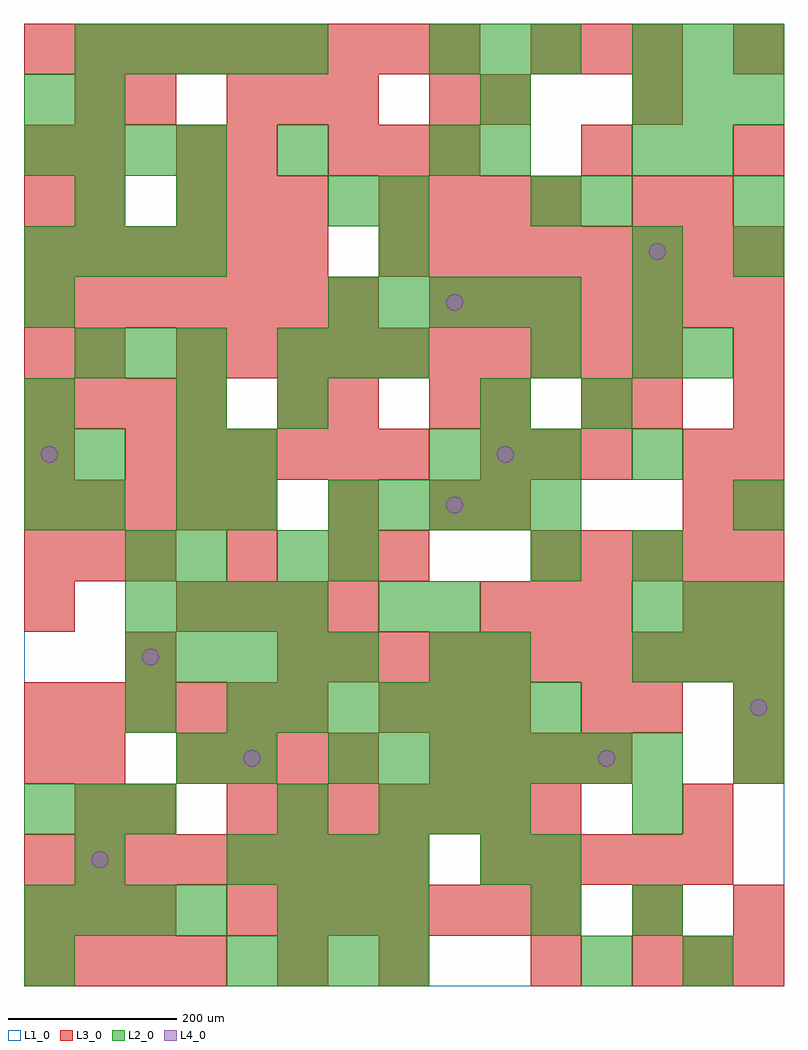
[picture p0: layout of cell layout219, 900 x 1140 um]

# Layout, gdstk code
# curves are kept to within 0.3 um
import gdstk
lib = gdstk.Library(unit=1e-6, precision=1e-09)
def R(c, l, rs):  # rectangles x0, y0, x1, y1
    for r in rs: c.add(gdstk.rectangle(r[:2], r[2:], *l))
def A(c, l, x, y, w, h, nx, ny, dx, dy):  # array of equal rectangles
    R(c, l, [(x+i*dx, y+j*dy, x+i*dx+w, y+j*dy+h) for i in range(nx) for j in range(ny)])
def P(c, l, *ps):  # polygons
    for p in ps: c.add(gdstk.Polygon(p, *l))
L1_0 = (1, 0)
L2_0 = (2, 0)
L3_0 = (3, 0)
L4_0 = (4, 0)

layout219 = lib.new_cell('layout219')
R(layout219, L1_0, [(0,0,900,1140)])
A(layout219, L2_0, 240, 0, 60, 60, 4, 2, 60, 120)
A(layout219, L2_0, 0, 60, 60, 60, 4, 2, 60, 780)
A(layout219, L2_0, 300, 60, 60, 60, 3, 2, 60, 660)
A(layout219, L2_0, 0, 180, 60, 60, 3, 1, 60, 0)
A(layout219, L2_0, 420, 180, 60, 60, 3, 1, 60, 0)
A(layout219, L2_0, 360, 240, 60, 60, 7, 1, 60, 0)
A(layout219, L2_0, 240, 300, 60, 60, 7, 1, 60, 0)
A(layout219, L2_0, 120, 360, 60, 60, 5, 1, 60, 0)
A(layout219, L2_0, 540, 360, 60, 60, 1, 3, 0, 300)
A(layout219, L2_0, 720, 360, 60, 60, 3, 2, 60, 60)
A(layout219, L2_0, 120, 420, 60, 60, 4, 1, 60, 0)
A(layout219, L2_0, 180, 480, 60, 60, 1, 4, 0, 60)
A(layout219, L2_0, 720, 480, 60, 60, 1, 3, 0, 120)
A(layout219, L2_0, 0, 540, 60, 60, 1, 3, 0, 60)
A(layout219, L2_0, 360, 540, 60, 60, 5, 2, 60, 240)
A(layout219, L2_0, 480, 600, 60, 60, 3, 2, 60, 480)
A(layout219, L2_0, 60, 720, 60, 60, 3, 1, 60, 0)
A(layout219, L2_0, 0, 960, 60, 60, 4, 1, 60, 0)
A(layout219, L2_0, 720, 1020, 60, 60, 3, 2, 60, 60)
A(layout219, L2_0, 60, 1080, 60, 60, 5, 1, 60, 0)
R(layout219, L2_0, [(0,0,60,60), (660,0,720,60), (780,0,840,60), (600,60,660,120), (720,60,780,120), (60,120,120,180), (540,120,600,180), (600,120,660,180), (300,180,360,240), (720,180,780,240), (180,240,240,300), (240,240,300,300), (840,240,900,300), (120,300,180,360), (840,300,900,360), (480,360,540,420), (420,420,480,480), (480,420,540,480), (120,480,180,540), (300,480,360,540), (360,480,420,540), (600,480,660,540), (60,540,120,600), (240,540,300,600), (840,540,900,600), (60,600,120,660), (240,600,300,660), (300,660,360,720), (660,660,720,720), (600,720,660,780), (780,720,840,780), (0,780,60,840), (720,780,780,840), (420,840,480,900), (720,840,780,900), (840,840,900,900), (60,900,120,960), (180,900,240,960), (360,900,420,960), (420,900,480,960), (600,900,660,960), (660,900,720,960), (840,900,900,960), (300,960,360,1020), (480,960,540,1020), (720,960,780,1020), (780,960,840,1020), (0,1020,60,1080), (60,1020,120,1080), (540,1020,600,1080)])
A(layout219, L3_0, 0, 0, 60, 60, 4, 2, 60, 660)
A(layout219, L3_0, 720, 0, 60, 60, 3, 1, 60, 0)
A(layout219, L3_0, 0, 60, 60, 60, 3, 2, 60, 420)
A(layout219, L3_0, 240, 60, 60, 60, 7, 2, 60, 120)
A(layout219, L3_0, 0, 120, 60, 60, 8, 1, 60, 0)
A(layout219, L3_0, 540, 120, 60, 60, 5, 1, 60, 0)
A(layout219, L3_0, 0, 240, 60, 60, 1, 3, 0, 180)
A(layout219, L3_0, 180, 240, 60, 60, 4, 2, 60, 180)
A(layout219, L3_0, 480, 240, 60, 60, 4, 1, 60, 0)
A(layout219, L3_0, 0, 300, 60, 60, 6, 2, 60, 540)
A(layout219, L3_0, 420, 300, 60, 60, 3, 1, 60, 0)
A(layout219, L3_0, 840, 300, 60, 60, 1, 3, 0, 120)
A(layout219, L3_0, 300, 360, 60, 60, 10, 1, 60, 0)
A(layout219, L3_0, 540, 420, 60, 60, 3, 2, 60, 180)
A(layout219, L3_0, 600, 480, 60, 60, 5, 1, 60, 0)
A(layout219, L3_0, 0, 540, 60, 60, 5, 1, 60, 0)
A(layout219, L3_0, 120, 600, 60, 60, 6, 1, 60, 0)
A(layout219, L3_0, 840, 600, 60, 60, 1, 3, 0, 60)
A(layout219, L3_0, 180, 720, 60, 60, 10, 1, 60, 0)
A(layout219, L3_0, 0, 780, 60, 60, 7, 1, 60, 0)
A(layout219, L3_0, 480, 780, 60, 60, 7, 1, 60, 0)
A(layout219, L3_0, 420, 840, 60, 60, 8, 1, 60, 0)
A(layout219, L3_0, 60, 900, 60, 60, 1, 3, 0, 60)
A(layout219, L3_0, 180, 900, 60, 60, 3, 1, 60, 0)
A(layout219, L3_0, 420, 900, 60, 60, 4, 1, 60, 0)
A(layout219, L3_0, 360, 960, 60, 60, 3, 1, 60, 0)
A(layout219, L3_0, 240, 1020, 60, 60, 3, 1, 60, 0)
A(layout219, L3_0, 0, 1080, 60, 60, 9, 1, 60, 0)
A(layout219, L3_0, 600, 1080, 60, 60, 3, 1, 60, 0)
R(layout219, L3_0, [(300,0,360,60), (420,0,480,60), (600,0,660,60), (720,60,780,120), (840,60,900,120), (60,180,120,240), (120,180,180,240), (780,180,840,240), (60,240,120,300), (840,240,900,300), (660,300,720,360), (720,300,780,360), (120,360,180,420), (780,420,840,480), (240,480,300,540), (360,480,420,540), (420,480,480,540), (360,540,420,600), (480,540,540,600), (540,540,600,600), (780,540,840,600), (780,600,840,660), (300,660,360,720), (360,660,420,720), (480,660,540,720), (540,660,600,720), (660,660,720,720), (720,660,780,720), (0,720,60,780), (60,720,120,780), (0,900,60,960), (720,900,780,960), (780,900,840,960), (0,960,60,1020), (180,960,240,1020), (240,960,300,1020), (660,960,720,1020), (840,960,900,1020), (120,1020,180,1080), (480,1020,540,1080), (540,1020,600,1080), (720,1020,780,1080), (840,1080,900,1140)])
P(layout219, L4_0, [(40,630),(39.239,633.827),(37.071,637.071),(33.827,639.239),(30,640),(26.173,639.239),(22.929,637.071),(20.761,633.827),(20,630),(20.761,626.173),(22.929,622.929),(26.173,620.761),(30,620),(33.827,620.761),(37.071,622.929),(39.239,626.173)],
  [(100,150),(99.239,153.827),(97.071,157.071),(93.827,159.239),(90,160),(86.173,159.239),(82.929,157.071),(80.761,153.827),(80,150),(80.761,146.173),(82.929,142.929),(86.173,140.761),(90,140),(93.827,140.761),(97.071,142.929),(99.239,146.173)],
  [(160,390),(159.239,393.827),(157.071,397.071),(153.827,399.239),(150,400),(146.173,399.239),(142.929,397.071),(140.761,393.827),(140,390),(140.761,386.173),(142.929,382.929),(146.173,380.761),(150,380),(153.827,380.761),(157.071,382.929),(159.239,386.173)],
  [(280,270),(279.239,273.827),(277.071,277.071),(273.827,279.239),(270,280),(266.173,279.239),(262.929,277.071),(260.761,273.827),(260,270),(260.761,266.173),(262.929,262.929),(266.173,260.761),(270,260),(273.827,260.761),(277.071,262.929),(279.239,266.173)],
  [(520,570),(519.239,573.827),(517.071,577.071),(513.827,579.239),(510,580),(506.173,579.239),(502.929,577.071),(500.761,573.827),(500,570),(500.761,566.173),(502.929,562.929),(506.173,560.761),(510,560),(513.827,560.761),(517.071,562.929),(519.239,566.173)],
  [(520,810),(519.239,813.827),(517.071,817.071),(513.827,819.239),(510,820),(506.173,819.239),(502.929,817.071),(500.761,813.827),(500,810),(500.761,806.173),(502.929,802.929),(506.173,800.761),(510,800),(513.827,800.761),(517.071,802.929),(519.239,806.173)],
  [(580,630),(579.239,633.827),(577.071,637.071),(573.827,639.239),(570,640),(566.173,639.239),(562.929,637.071),(560.761,633.827),(560,630),(560.761,626.173),(562.929,622.929),(566.173,620.761),(570,620),(573.827,620.761),(577.071,622.929),(579.239,626.173)],
  [(700,270),(699.239,273.827),(697.071,277.071),(693.827,279.239),(690,280),(686.173,279.239),(682.929,277.071),(680.761,273.827),(680,270),(680.761,266.173),(682.929,262.929),(686.173,260.761),(690,260),(693.827,260.761),(697.071,262.929),(699.239,266.173)],
  [(760,870),(759.239,873.827),(757.071,877.071),(753.827,879.239),(750,880),(746.173,879.239),(742.929,877.071),(740.761,873.827),(740,870),(740.761,866.173),(742.929,862.929),(746.173,860.761),(750,860),(753.827,860.761),(757.071,862.929),(759.239,866.173)],
  [(880,330),(879.239,333.827),(877.071,337.071),(873.827,339.239),(870,340),(866.173,339.239),(862.929,337.071),(860.761,333.827),(860,330),(860.761,326.173),(862.929,322.929),(866.173,320.761),(870,320),(873.827,320.761),(877.071,322.929),(879.239,326.173)])

lib.write_gds('layout219.gds')
